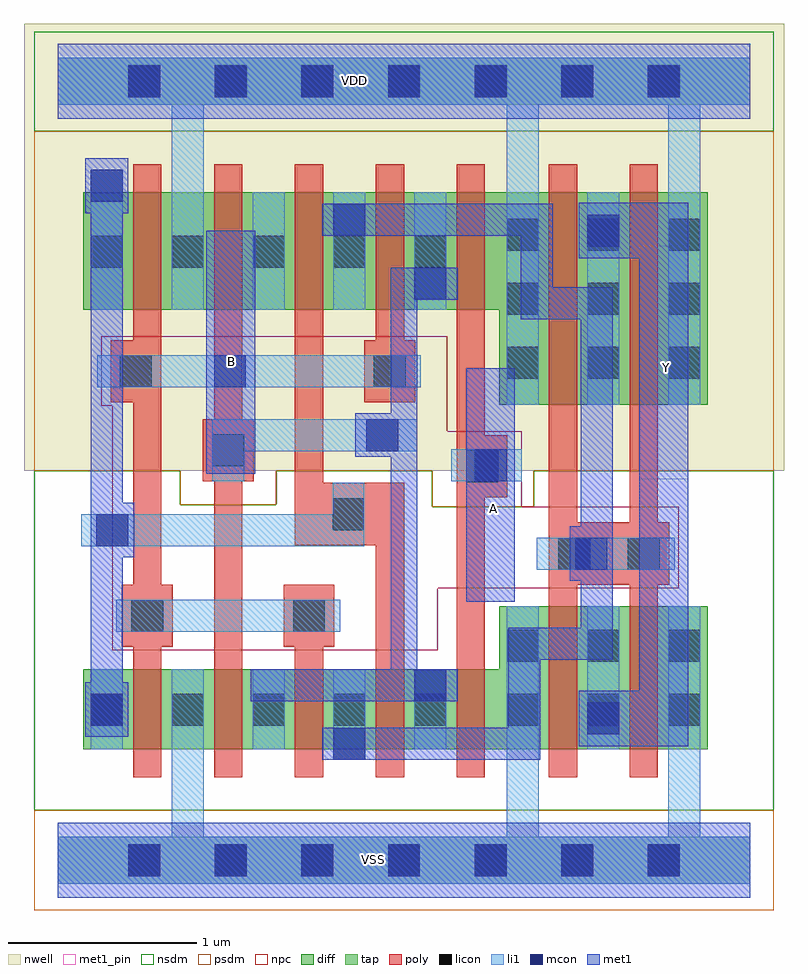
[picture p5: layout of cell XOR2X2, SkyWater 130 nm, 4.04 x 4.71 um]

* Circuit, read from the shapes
.subckt XOR2X2 A B VDD VSS Y
XM1 VSS B n1 VSS sky130_fd_pr__nfet_01v8 w=0.425 l=0.15
XM2 n2 n3 VSS VSS sky130_fd_pr__nfet_01v8 w=0.425 l=0.15
XM3 n4 B n2 VSS sky130_fd_pr__nfet_01v8 w=0.425 l=0.15
XM4 n3 n1 n4 VSS sky130_fd_pr__nfet_01v8 w=0.425 l=0.15
XM5 VSS A n3 VSS sky130_fd_pr__nfet_01v8 w=0.425 l=0.15
XM6 Y n4 VSS VSS sky130_fd_pr__nfet_01v8 w=0.76 l=0.15 m=2
XM7 VDD B n1 VDD sky130_fd_pr__pfet_01v8 w=0.625 l=0.15
XM8 n5 n3 VDD VDD sky130_fd_pr__pfet_01v8 w=0.625 l=0.15
XM9 n4 n1 n5 VDD sky130_fd_pr__pfet_01v8 w=0.625 l=0.15
XM10 n3 B n4 VDD sky130_fd_pr__pfet_01v8 w=0.625 l=0.15
XM11 VDD A n3 VDD sky130_fd_pr__pfet_01v8 w=0.625 l=0.15
XM12 Y n4 VDD VDD sky130_fd_pr__pfet_01v8 w=1.13 l=0.15 m=2
.ends

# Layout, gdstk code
from math import pi, radians
import gdstk
lib = gdstk.Library(unit=1e-6, precision=1e-09)
def R(c, l, rs):  # rectangles x0, y0, x1, y1
    for r in rs: c.add(gdstk.rectangle(r[:2], r[2:], *l))
def A(c, l, x, y, w, h, nx, ny, dx, dy):  # array of equal rectangles
    R(c, l, [(x+i*dx, y+j*dy, x+i*dx+w, y+j*dy+h) for i in range(nx) for j in range(ny)])
def P(c, l, *ps):  # polygons
    for p in ps: c.add(gdstk.Polygon(p, *l))
nwell = (64, 20)
diff = (65, 20)
tap = (65, 44)
poly = (66, 20)
licon = (66, 44)
li1 = (67, 20)
mcon = (67, 44)
met1_pin = (68, 16)
met1 = (68, 20)
nsdm = (93, 44)
psdm = (94, 20)
npc = (95, 20)

pfet_01v8_cdns_716492285 = lib.new_cell('pfet_01v8_CDNS_7164922852222')
R(pfet_01v8_cdns_716492285, nwell, [(-0.235,-0.18,0.555,0.805)])
R(pfet_01v8_cdns_716492285, diff, [(-0.055,0,0,0.625), (0,0,0.15,0.625), (0.15,0,0.375,0.625)])
R(pfet_01v8_cdns_716492285, poly, [(0,-0.15,0.15,-0.095), (0,-0.095,0.15,0), (0,0,0.15,0.625), (0,0.625,0.15,0.72), (0,0.72,0.15,0.775)])
R(pfet_01v8_cdns_716492285, licon, [(0.205,0.225,0.375,0.395)])
R(pfet_01v8_cdns_716492285, li1, [(0.205,0,0.375,0.625)])
R(pfet_01v8_cdns_716492285, psdm, [(-0.065,-0.13,0.385,0.755)])

c_pfet_01v8_cdns_716492285 = lib.new_cell('pfet_01v8_CDNS_7164922852223')
R(c_pfet_01v8_cdns_716492285, nwell, [(-0.445,-0.18,1.025,1.31)])
R(c_pfet_01v8_cdns_716492285, diff, [(-0.265,0,0,1.13), (0,0,0.15,1.13), (0.15,0,0.43,1.13), (0.43,0,0.58,1.13), (0.58,0,0.845,1.13)])
R(c_pfet_01v8_cdns_716492285, poly, [(0,-0.15,0.15,-0.095), (0.43,-0.15,0.58,-0.095), (0,-0.095,0.15,0), (0.43,-0.095,0.58,0), (0,0,0.15,1.13), (0.43,0,0.58,1.13), (0,1.13,0.15,1.225), (0.43,1.13,0.58,1.225), (0,1.225,0.15,1.28), (0.43,1.225,0.58,1.28)])
A(c_pfet_01v8_cdns_716492285, licon, -0.225, 0.14, 0.17, 0.17, 3, 3, 0.43, 0.34)
A(c_pfet_01v8_cdns_716492285, li1, -0.225, 0, 0.17, 1.13, 3, 1, 0.43, 0)
R(c_pfet_01v8_cdns_716492285, psdm, [(-0.405,-0.13,0.985,1.26)])

nfet_01v8_cdns_716492285 = lib.new_cell('nfet_01v8_CDNS_7164922852224')
R(nfet_01v8_cdns_716492285, diff, [(-0.225,0,0,0.425), (0,0,0.15,0.425), (0.15,0,0.205,0.425)])
R(nfet_01v8_cdns_716492285, poly, [(0,-0.15,0.15,-0.095), (0,-0.095,0.15,0), (0,0,0.15,0.425), (0,0.425,0.15,0.52), (0,0.52,0.15,0.575)])
R(nfet_01v8_cdns_716492285, licon, [(-0.225,0.125,-0.055,0.295)])
R(nfet_01v8_cdns_716492285, li1, [(-0.225,0,-0.055,0.425)])
R(nfet_01v8_cdns_716492285, nsdm, [(-0.235,-0.13,0.215,0.555)])

c_nfet_01v8_cdns_716492285 = lib.new_cell('nfet_01v8_CDNS_7164922852225')
R(c_nfet_01v8_cdns_716492285, diff, [(-0.075,0,0,0.425), (0,0,0.15,0.425), (0.15,0,0.205,0.425)])
R(c_nfet_01v8_cdns_716492285, poly, [(0,-0.15,0.15,-0.095), (0,-0.095,0.15,0), (0,0,0.15,0.425), (0,0.425,0.15,0.52), (0,0.52,0.15,0.575)])
R(c_nfet_01v8_cdns_716492285, nsdm, [(0.045,-0.13,0.215,0.555)])

c_pfet_01v8_cdns_716492285_ = lib.new_cell('pfet_01v8_CDNS_7164922852226')
R(c_pfet_01v8_cdns_716492285_, nwell, [(-0.235,-0.18,0.555,0.805)])
R(c_pfet_01v8_cdns_716492285_, diff, [(-0.055,0,0,0.625), (0,0,0.15,0.625), (0.15,0,0.375,0.625)])
R(c_pfet_01v8_cdns_716492285_, poly, [(0,-0.15,0.15,-0.095), (0,-0.095,0.15,0), (0,0,0.15,0.625), (0,0.625,0.15,0.72), (0,0.72,0.15,0.775)])
R(c_pfet_01v8_cdns_716492285_, licon, [(0.205,0.225,0.375,0.395)])
R(c_pfet_01v8_cdns_716492285_, li1, [(0.205,0,0.375,0.625)])
R(c_pfet_01v8_cdns_716492285_, psdm, [(-0.065,-0.13,0.385,0.755)])

c_pfet_01v8_cdns_716492285__ = lib.new_cell('pfet_01v8_CDNS_7164922852219')
R(c_pfet_01v8_cdns_716492285__, nwell, [(-0.405,-0.18,0.595,0.805)])
R(c_pfet_01v8_cdns_716492285__, diff, [(-0.225,0,0,0.625), (0,0,0.15,0.625), (0.15,0,0.415,0.625)])
R(c_pfet_01v8_cdns_716492285__, poly, [(0,-0.15,0.15,-0.095), (0,-0.095,0.15,0), (0,0,0.15,0.625), (0,0.625,0.15,0.72), (0,0.72,0.15,0.775)])
R(c_pfet_01v8_cdns_716492285__, licon, [(-0.225,0.225,-0.055,0.395), (0.205,0.225,0.375,0.395)])
R(c_pfet_01v8_cdns_716492285__, li1, [(-0.225,0,-0.055,0.625), (0.205,0,0.375,0.625)])
R(c_pfet_01v8_cdns_716492285__, psdm, [(-0.235,-0.13,0.555,0.755)])

c_pfet_01v8_cdns_716492285___ = lib.new_cell('pfet_01v8_CDNS_7164922852227')
R(c_pfet_01v8_cdns_716492285___, nwell, [(-0.235,-0.18,0.555,0.805)])
R(c_pfet_01v8_cdns_716492285___, diff, [(-0.055,0,0,0.625), (0,0,0.15,0.625), (0.15,0,0.375,0.625)])
R(c_pfet_01v8_cdns_716492285___, poly, [(0,-0.15,0.15,-0.095), (0,-0.095,0.15,0), (0,0,0.15,0.625), (0,0.625,0.15,0.72), (0,0.72,0.15,0.775)])
R(c_pfet_01v8_cdns_716492285___, psdm, [(-0.065,-0.13,0.385,0.755)])

c_nfet_01v8_cdns_716492285_ = lib.new_cell('nfet_01v8_CDNS_7164922852228')
R(c_nfet_01v8_cdns_716492285_, diff, [(-0.265,0,0,0.76), (0,0,0.15,0.76), (0.15,0,0.43,0.76), (0.43,0,0.58,0.76), (0.58,0,0.845,0.76)])
R(c_nfet_01v8_cdns_716492285_, poly, [(0,-0.15,0.15,-0.095), (0.43,-0.15,0.58,-0.095), (0,-0.095,0.15,0), (0.43,-0.095,0.58,0), (0,0,0.15,0.76), (0.43,0,0.58,0.76), (0,0.76,0.15,0.855), (0.43,0.76,0.58,0.855), (0,0.855,0.15,0.91), (0.43,0.855,0.58,0.91)])
A(c_nfet_01v8_cdns_716492285_, licon, -0.225, 0.125, 0.17, 0.17, 3, 2, 0.43, 0.34)
A(c_nfet_01v8_cdns_716492285_, li1, -0.225, 0, 0.17, 0.76, 3, 1, 0.43, 0)
R(c_nfet_01v8_cdns_716492285_, nsdm, [(-0.405,-0.13,0.985,0.89)])

c_nfet_01v8_cdns_716492285__ = lib.new_cell('nfet_01v8_CDNS_716492285226')
R(c_nfet_01v8_cdns_716492285__, diff, [(-0.225,0,0,0.425), (0,0,0.15,0.425), (0.15,0,0.415,0.425)])
R(c_nfet_01v8_cdns_716492285__, poly, [(0,-0.15,0.15,-0.095), (0,-0.095,0.15,0), (0,0,0.15,0.425), (0,0.425,0.15,0.52), (0,0.52,0.15,0.575)])
R(c_nfet_01v8_cdns_716492285__, licon, [(-0.225,0.125,-0.055,0.295), (0.205,0.125,0.375,0.295)])
R(c_nfet_01v8_cdns_716492285__, li1, [(-0.225,0,-0.055,0.425), (0.205,0,0.375,0.425)])
R(c_nfet_01v8_cdns_716492285__, nsdm, [(-0.235,-0.13,0.555,0.555)])

c_nfet_01v8_cdns_716492285___ = lib.new_cell('nfet_01v8_CDNS_7164922852229')
R(c_nfet_01v8_cdns_716492285___, diff, [(-0.055,0,0,0.425), (0,0,0.15,0.425), (0.15,0,0.375,0.425)])
R(c_nfet_01v8_cdns_716492285___, poly, [(0,-0.15,0.15,-0.095), (0,-0.095,0.15,0), (0,0,0.15,0.425), (0,0.425,0.15,0.52), (0,0.52,0.15,0.575)])
R(c_nfet_01v8_cdns_716492285___, nsdm, [(-0.065,-0.13,0.385,0.555)])

c_nfet_01v8_cdns_716492285____ = lib.new_cell('nfet_01v8_CDNS_7164922852230')
R(c_nfet_01v8_cdns_716492285____, diff, [(-0.055,0,0,0.425), (0,0,0.15,0.425), (0.15,0,0.375,0.425)])
R(c_nfet_01v8_cdns_716492285____, poly, [(0,-0.15,0.15,-0.095), (0,-0.095,0.15,0), (0,0,0.15,0.425), (0,0.425,0.15,0.52), (0,0.52,0.15,0.575)])
R(c_nfet_01v8_cdns_716492285____, licon, [(0.205,0.125,0.375,0.295)])
R(c_nfet_01v8_cdns_716492285____, li1, [(0.205,0,0.375,0.425)])
R(c_nfet_01v8_cdns_716492285____, nsdm, [(-0.065,-0.13,0.385,0.555)])

c_pfet_01v8_cdns_716492285____ = lib.new_cell('pfet_01v8_CDNS_7164922852231')
R(c_pfet_01v8_cdns_716492285____, nwell, [(-0.255,-0.18,0.385,0.805)])
R(c_pfet_01v8_cdns_716492285____, diff, [(-0.075,0,0,0.625), (0,0,0.15,0.625), (0.15,0,0.205,0.625)])
R(c_pfet_01v8_cdns_716492285____, poly, [(0,-0.15,0.15,-0.095), (0,-0.095,0.15,0), (0,0,0.15,0.625), (0,0.625,0.15,0.72), (0,0.72,0.15,0.775)])
R(c_pfet_01v8_cdns_716492285____, psdm, [(0.045,-0.13,0.215,0.755)])

l1m1_c_cdns_716492285221 = lib.new_cell('L1M1_C_CDNS_7164922852211')
R(l1m1_c_cdns_716492285221, li1, [(-0.085,-0.165,0.085,0.085)])
R(l1m1_c_cdns_716492285221, mcon, [(-0.085,-0.085,0.085,0.085)])
R(l1m1_c_cdns_716492285221, met1, [(-0.145,-0.115,0.145,0.115)])

pyl1con_c_cdns_716492285 = lib.new_cell('PYL1CON_C_CDNS_716492285220')
R(pyl1con_c_cdns_716492285, poly, [(-0.135,-0.165,0.135,0.165)])
R(pyl1con_c_cdns_716492285, licon, [(-0.085,-0.085,0.085,0.085)])
R(pyl1con_c_cdns_716492285, npc, [(-0.185,-0.185,0.185,0.185)])

l1m1_c_cdns_716492285223 = lib.new_cell('L1M1_C_CDNS_716492285223')
R(l1m1_c_cdns_716492285223, li1, [(-0.165,-0.085,0.165,0.085)])
R(l1m1_c_cdns_716492285223, mcon, [(-0.085,-0.085,0.085,0.085)])
R(l1m1_c_cdns_716492285223, met1, [(-0.115,-0.145,0.115,0.145)])

l1m1_c_cdns_716492285222 = lib.new_cell('L1M1_C_CDNS_716492285222')
R(l1m1_c_cdns_716492285222, li1, [(-0.085,-0.165,0.085,0.165)])
R(l1m1_c_cdns_716492285222, mcon, [(-0.085,-0.085,0.085,0.085)])
R(l1m1_c_cdns_716492285222, met1, [(-0.115,-0.145,0.115,0.145)])

c_l1m1_c_cdns_716492285221 = lib.new_cell('L1M1_C_CDNS_7164922852212')
R(c_l1m1_c_cdns_716492285221, li1, [(-0.085,-0.085,0.085,0.085)])
R(c_l1m1_c_cdns_716492285221, mcon, [(-0.085,-0.085,0.085,0.085)])
R(c_l1m1_c_cdns_716492285221, met1, [(-0.145,-0.085,0.145,0.085)])

licondiff_c_cdns_7164922 = lib.new_cell('LICONDIFF_C_CDNS_7164922852213')
R(licondiff_c_cdns_7164922, diff, [(-0.125,-0.145,0.125,0.145)])
R(licondiff_c_cdns_7164922, licon, [(-0.085,-0.085,0.085,0.085), (-0.085,-0.085,0.085,0.085)])

c_l1m1_c_cdns_716492285221_ = lib.new_cell('L1M1_C_CDNS_7164922852214')
R(c_l1m1_c_cdns_716492285221_, li1, [(-0.085,-0.165,0.085,0.085)])
R(c_l1m1_c_cdns_716492285221_, mcon, [(-0.085,-0.085,0.085,0.085)])
R(c_l1m1_c_cdns_716492285221_, met1, [(-0.115,-0.145,0.115,0.145)])

xor2x2 = lib.new_cell('XOR2X2')
R(xor2x2, nwell, [(-0.18,2.07,3.86,4.305), (-0.18,3.875,3.86,4.445)])
A(xor2x2, licon, 0.375, -0.085, 0.17, 0.17, 7, 2, 0.46, 4.14)
A(xor2x2, mcon, 0.375, -0.085, 0.17, 0.17, 7, 2, 0.46, 4.14)
R(xor2x2, met1_pin, [(2.17,1.375,2.43,2.615), (3.09,2.025,3.35,3.265), (0.79,2.055,1.05,3.345)])
R(xor2x2, met1, [(2.77,0.605,3.35,0.9), (2.77,3.2,3.35,3.495), (2.795,3.395,2.81,3.41)])
R(xor2x2, nsdm, [(-0.125,3.875,3.805,4.405), (-0.125,3.93,3.805,4.35)])
P(xor2x2, nsdm, [(3.805,2.07),(2.53,2.07),(2.53,1.88),(1.99,1.88),(1.99,2.07),(1.16,2.07),(1.16,1.89),(0.65,1.89),(0.65,2.07),(-0.125,2.07),(-0.125,0.265),(3.805,0.265)])
R(xor2x2, psdm, [(-0.125,-0.265,3.805,0.265), (-0.125,-0.21,3.805,0.21)])
P(xor2x2, psdm, [(3.805,3.875),(-0.125,3.875),(-0.125,2.07),(0.65,2.07),(0.65,1.89),(1.16,1.89),(1.16,2.07),(1.99,2.07),(1.99,1.88),(2.53,1.88),(2.53,2.07),(3.805,2.07)])
P(xor2x2, npc, [(3.3,1.88),(2.465,1.88),(2.465,2.28),(2.07,2.28),(2.07,2.785),(0.29,2.785),(0.29,1.115),(2.02,1.115),(2.02,1.445),(3.3,1.445)])
xor2x2.add(gdstk.FlexPath([(2.685,1.63),(3.115,1.63)], 0.33, ends="flush", simple_path=True, layer=66, datatype=20))  # poly
xor2x2.add(gdstk.FlexPath([(3.115,2.27),(3.115,1.44)], 0.15, ends="flush", simple_path=True, layer=66, datatype=20))  # poly
xor2x2.add(gdstk.FlexPath([(2.685,2.27),(2.685,1.44)], 0.15, ends="flush", simple_path=True, layer=66, datatype=20))  # poly
xor2x2.add(gdstk.FlexPath([(0.905,2.775),(0.905,1.165)], 0.15, ends="flush", simple_path=True, layer=66, datatype=20))  # poly
xor2x2.add(gdstk.FlexPath([(1.765,2.775),(1.765,2.6)], 0.15, ends="flush", simple_path=True, layer=66, datatype=20))  # poly
xor2x2.add(gdstk.FlexPath([(2.195,2.775),(2.195,1.135)], 0.15, ends="flush", simple_path=True, layer=66, datatype=20))  # poly
xor2x2.add(gdstk.FlexPath([(1.335,2.775),(1.335,2.6)], 0.15, ends="flush", simple_path=True, layer=66, datatype=20))  # poly
xor2x2.add(gdstk.FlexPath([(1.765,1.165),(1.765,1.34)], 0.15, ends="flush", simple_path=True, layer=66, datatype=20))  # poly
xor2x2.add(gdstk.FlexPath([(0.475,2.775),(0.475,1.165)], 0.15, ends="flush", simple_path=True, layer=66, datatype=20))  # poly
xor2x2.add(gdstk.FlexPath([(1.395,1.84),(1.69,1.84)], 0.33, ends="flush", simple_path=True, layer=66, datatype=20))  # poly
xor2x2.add(gdstk.FlexPath([(1.335,2.775),(1.335,1.815)], 0.15, ends=(0, 0.14), simple_path=True, layer=66, datatype=20))  # poly
xor2x2.add(gdstk.FlexPath([(1.765,1.865),(1.765,1.165)], 0.15, ends=(0.14, 0), simple_path=True, layer=66, datatype=20))  # poly
xor2x2.add(gdstk.FlexPath([(1.12,0.59),(1.12,1.015)], 0.17, ends="flush", simple_path=True, layer=67, datatype=20))  # li1
xor2x2.add(gdstk.FlexPath([(1.12,2.925),(1.12,3.55)], 0.17, ends="flush", simple_path=True, layer=67, datatype=20))  # li1
xor2x2.add(gdstk.FlexPath([(2.545,1.63),(3.28,1.63)], 0.17, ends="flush", simple_path=True, layer=67, datatype=20))  # li1
xor2x2.add(gdstk.FlexPath([(0.905,2.015),(0.905,2.26)], 0.17, ends=(0, 0.085), simple_path=True, layer=67, datatype=20))  # li1
xor2x2.add(gdstk.FlexPath([(0.82,2.26),(0.905,2.26)], 0.17, ends=(0, 0.085), simple_path=True, layer=67, datatype=20))  # li1
xor2x2.add(gdstk.FlexPath([(2.465,2.1),(2.09,2.1)], 0.17, ends="flush", simple_path=True, layer=67, datatype=20))  # li1
xor2x2.add(gdstk.FlexPath([(0.31,1.3),(1.5,1.3)], 0.17, ends="flush", simple_path=True, layer=67, datatype=20))  # li1
xor2x2.add(gdstk.FlexPath([(0.21,2.6),(1.93,2.6)], 0.17, ends="flush", simple_path=True, layer=67, datatype=20))  # li1
xor2x2.add(gdstk.FlexPath([(1.545,1.84),(1.545,2.005)], 0.17, ends="flush", simple_path=True, layer=67, datatype=20))  # li1
xor2x2.add(gdstk.FlexPath([(0.25,1.755),(1.63,1.755)], 0.17, ends="flush", simple_path=True, layer=67, datatype=20))  # li1
xor2x2.add(gdstk.FlexPath([(0.905,2.26),(1.91,2.26)], 0.17, ends=(0.085, 0), simple_path=True, layer=67, datatype=20))  # li1
xor2x2.add(gdstk.FlexPath([(2.47,0),(3.42,0)], 0.25, ends=(0.085, 0.085), simple_path=True, layer=67, datatype=20))  # li1
xor2x2.add(gdstk.FlexPath([(3.42,0),(3.595,0)], 0.25, ends=(0.085, 0.085), simple_path=True, layer=67, datatype=20))  # li1
xor2x2.add(gdstk.FlexPath([(0.69,0),(2.47,0)], 0.25, ends=(0.085, 0.085), simple_path=True, layer=67, datatype=20))  # li1
xor2x2.add(gdstk.FlexPath([(3.595,0),(3.68,0)], 0.25, ends=(0.085, 0), simple_path=True, layer=67, datatype=20))  # li1
xor2x2.add(gdstk.FlexPath([(2.47,4.14),(3.42,4.14)], 0.25, ends=(0.085, 0.085), simple_path=True, layer=67, datatype=20))  # li1
xor2x2.add(gdstk.FlexPath([(0,4.14),(0.69,4.14)], 0.25, ends=(0, 0.085), simple_path=True, layer=67, datatype=20))  # li1
xor2x2.add(gdstk.FlexPath([(3.42,4.14),(3.595,4.14)], 0.25, ends=(0.085, 0.085), simple_path=True, layer=67, datatype=20))  # li1
xor2x2.add(gdstk.FlexPath([(0.69,4.14),(2.47,4.14)], 0.25, ends=(0.085, 0.085), simple_path=True, layer=67, datatype=20))  # li1
xor2x2.add(gdstk.FlexPath([(0.69,0.59),(0.69,0)], 0.17, ends=(0, 0.085), simple_path=True, layer=67, datatype=20))  # li1
xor2x2.add(gdstk.FlexPath([(0,0),(0.69,0)], 0.25, ends=(0, 0.085), simple_path=True, layer=67, datatype=20))  # li1
xor2x2.add(gdstk.FlexPath([(2.47,3.55),(2.47,4.14)], 0.17, ends=(0, 0.125), simple_path=True, layer=67, datatype=20))  # li1
xor2x2.add(gdstk.FlexPath([(3.33,0),(3.33,0.59)], 0.17, ends=(0.085, 0), simple_path=True, layer=67, datatype=20))  # li1
xor2x2.add(gdstk.FlexPath([(0.69,3.55),(0.69,4.14)], 0.17, ends=(0, 0.085), simple_path=True, layer=67, datatype=20))  # li1
xor2x2.add(gdstk.FlexPath([(3.595,4.14),(3.68,4.14)], 0.25, ends=(0.085, 0), simple_path=True, layer=67, datatype=20))  # li1
xor2x2.add(gdstk.FlexPath([(0.69,0),(3.33,0)], 0.17, ends="extended", simple_path=True, layer=67, datatype=20))  # li1
xor2x2.add(gdstk.FlexPath([(2.47,0.59),(2.47,0)], 0.17, ends="flush", simple_path=True, layer=67, datatype=20))  # li1
xor2x2.add(gdstk.FlexPath([(3.33,4.14),(0.69,4.14)], 0.17, ends="extended", simple_path=True, layer=67, datatype=20))  # li1
xor2x2.add(gdstk.FlexPath([(3.33,3.55),(3.33,4.14)], 0.17, ends=(0, 0.085), simple_path=True, layer=67, datatype=20))  # li1
xor2x2.add(gdstk.FlexPath([(2.9,0.75),(2.9,0.755)], 0.26, ends=(0.13, 0.145), simple_path=True, layer=68, datatype=20))  # met1
xor2x2.add(gdstk.FlexPath([(3.22,0.75),(2.9,0.75)], 0.26, ends="extended", simple_path=True, layer=68, datatype=20))  # met1
xor2x2.add(gdstk.FlexPath([(3.22,2.035),(3.22,0.75)], 0.26, ends=(0, 0.13), simple_path=True, layer=68, datatype=20))  # met1
xor2x2.add(gdstk.FlexPath([(2.9,3.365),(2.9,3.345)], 0.26, ends=(0.13, 0.145), simple_path=True, layer=68, datatype=20))  # met1
xor2x2.add(gdstk.FlexPath([(3.22,3.365),(2.9,3.365)], 0.26, ends="extended", simple_path=True, layer=68, datatype=20))  # met1
xor2x2.add(gdstk.FlexPath([(3.22,3.265),(3.22,3.365)], 0.26, ends=(0, 0.13), simple_path=True, layer=68, datatype=20))  # met1
xor2x2.add(gdstk.FlexPath([(2.48,1.15),(2.48,0.62)], 0.17, ends="extended", simple_path=True, layer=68, datatype=20))  # met1
xor2x2.add(gdstk.FlexPath([(3.22,2.025),(3.22,3.265)], 0.26, ends="flush", simple_path=True, layer=68, datatype=20))  # met1
xor2x2.add(gdstk.FlexPath([(2.865,2.96),(2.865,1.15)], 0.17, ends="extended", simple_path=True, layer=68, datatype=20))  # met1
xor2x2.add(gdstk.FlexPath([(2.545,2.96),(2.865,2.96)], 0.17, ends="extended", simple_path=True, layer=68, datatype=20))  # met1
xor2x2.add(gdstk.FlexPath([(1.405,3.405),(2.44,3.405)], 0.17, ends=(0, 0.13), simple_path=True, layer=68, datatype=20))  # met1
xor2x2.add(gdstk.FlexPath([(2.435,0.62),(1.405,0.62)], 0.17, ends=(0.13, 0), simple_path=True, layer=68, datatype=20))  # met1
xor2x2.add(gdstk.FlexPath([(2.545,3.405),(2.545,2.96)], 0.17, ends="extended", simple_path=True, layer=68, datatype=20))  # met1
xor2x2.add(gdstk.FlexPath([(2.44,3.405),(2.545,3.405)], 0.17, ends=(0, 0.085), simple_path=True, layer=68, datatype=20))  # met1
xor2x2.add(gdstk.FlexPath([(2.125,3.065),(1.845,3.065)], 0.17, ends=(0, 0.07), simple_path=True, layer=68, datatype=20))  # met1
xor2x2.add(gdstk.FlexPath([(1.155,0.93),(1.98,0.93)], 0.17, ends=(0.13, 0), simple_path=True, layer=68, datatype=20))  # met1
xor2x2.add(gdstk.FlexPath([(1.84,3.065),(1.84,0.97)], 0.14, ends=(0.085, 0.085), simple_path=True, layer=68, datatype=20))  # met1
xor2x2.add(gdstk.FlexPath([(2.3,1.375),(2.3,2.615)], 0.26, ends="flush", simple_path=True, layer=68, datatype=20))  # met1
xor2x2.add(gdstk.FlexPath([(2.48,0.62),(2.435,0.62)], 0.17, ends=(0.085, 0), simple_path=True, layer=68, datatype=20))  # met1
xor2x2.add(gdstk.FlexPath([(0.92,2.055),(0.92,3.345)], 0.26, ends="flush", simple_path=True, layer=68, datatype=20))  # met1
xor2x2.add(gdstk.FlexPath([(0.26,0.655),(0.26,3.73)], 0.17, ends="flush", simple_path=True, layer=68, datatype=20))  # met1
xor2x2.add(gdstk.FlexPath([(2.865,1.15),(2.48,1.15)], 0.17, ends="extended", simple_path=True, layer=68, datatype=20))  # met1
xor2x2.add(gdstk.FlexPath([(0,0),(3.68,0)], 0.4, ends="flush", simple_path=True, layer=68, datatype=20))  # met1
xor2x2.add(gdstk.FlexPath([(0,4.14),(3.68,4.14)], 0.4, ends="flush", simple_path=True, layer=68, datatype=20))  # met1
xor2x2.add(gdstk.FlexPath([(0,4.14),(3.68,4.14)], 0.4, ends="flush", simple_path=True, layer=68, datatype=16))  # met1_pin
xor2x2.add(gdstk.FlexPath([(0,0),(3.68,0)], 0.4, ends="flush", simple_path=True, layer=68, datatype=16))  # met1_pin
xor2x2.add(gdstk.FlexPath([(0,4.14),(3.68,4.14)], 0.25, ends="flush", simple_path=True, layer=65, datatype=44))  # tap
xor2x2.add(gdstk.FlexPath([(0,0),(3.68,0)], 0.25, ends="flush", simple_path=True, layer=65, datatype=44))  # tap
xor2x2.add(gdstk.Reference(pfet_01v8_cdns_716492285, (1.69,2.925)))
xor2x2.add(gdstk.Reference(c_pfet_01v8_cdns_716492285, (2.61,2.42)))
xor2x2.add(gdstk.Reference(nfet_01v8_cdns_716492285, (1.84,0.59), rotation=pi, x_reflection=True))
xor2x2.add(gdstk.Reference(c_nfet_01v8_cdns_716492285, (2.27,0.59), rotation=pi, x_reflection=True))
xor2x2.add(gdstk.Reference(c_pfet_01v8_cdns_716492285_, (1.26,2.925)))
xor2x2.add(gdstk.Reference(c_pfet_01v8_cdns_716492285__, (0.55,2.925), rotation=pi, x_reflection=True))
xor2x2.add(gdstk.Reference(c_pfet_01v8_cdns_716492285___, (0.83,2.925)))
xor2x2.add(gdstk.Reference(c_nfet_01v8_cdns_716492285_, (2.61,0.59)))
xor2x2.add(gdstk.Reference(c_nfet_01v8_cdns_716492285__, (0.55,0.59), rotation=pi, x_reflection=True))
xor2x2.add(gdstk.Reference(c_nfet_01v8_cdns_716492285___, (0.83,0.59)))
xor2x2.add(gdstk.Reference(c_nfet_01v8_cdns_716492285____, (1.26,0.59)))
xor2x2.add(gdstk.Reference(c_pfet_01v8_cdns_716492285____, (2.27,2.925), rotation=pi, x_reflection=True))
xor2x2.add(gdstk.Reference(l1m1_c_cdns_716492285221, (2.835,1.63), rotation=pi/2))
xor2x2.add(gdstk.Reference(pyl1con_c_cdns_716492285, (3.115,1.63), rotation=pi))
xor2x2.add(gdstk.Reference(pyl1con_c_cdns_716492285, (2.745,1.63), rotation=pi))
xor2x2.add(gdstk.Reference(pyl1con_c_cdns_716492285, (0.905,2.18), rotation=pi))
xor2x2.add(gdstk.Reference(pyl1con_c_cdns_716492285, (2.255,2.095), rotation=pi))
xor2x2.add(gdstk.Reference(pyl1con_c_cdns_716492285, (1.335,1.3), rotation=pi))
xor2x2.add(gdstk.Reference(pyl1con_c_cdns_716492285, (0.475,1.3), rotation=pi))
xor2x2.add(gdstk.Reference(pyl1con_c_cdns_716492285, (1.765,2.6), rotation=pi))
xor2x2.add(gdstk.Reference(pyl1con_c_cdns_716492285, (0.415,2.6), rotation=pi))
xor2x2.add(gdstk.Reference(pyl1con_c_cdns_716492285, (1.545,1.84), x_reflection=True))
xor2x2.add(gdstk.Reference(l1m1_c_cdns_716492285223, (2.3,2.1), x_reflection=True))
xor2x2.add(gdstk.Reference(l1m1_c_cdns_716492285223, (0.915,2.6), x_reflection=True))
xor2x2.add(gdstk.Reference(l1m1_c_cdns_716492285223, (0.29,1.755), rotation=pi, x_reflection=True))
xor2x2.add(gdstk.Reference(l1m1_c_cdns_716492285222, (2.9,0.755)))
xor2x2.add(gdstk.Reference(l1m1_c_cdns_716492285222, (2.9,3.345)))
xor2x2.add(gdstk.Reference(l1m1_c_cdns_716492285222, (0.26,0.8)))
xor2x2.add(gdstk.Reference(c_l1m1_c_cdns_716492285221, (1.55,3.405), rotation=pi))
xor2x2.add(gdstk.Reference(c_l1m1_c_cdns_716492285221, (1.55,0.62), rotation=pi))
xor2x2.add(gdstk.Reference(c_l1m1_c_cdns_716492285221, (1.98,3.065), x_reflection=True))
xor2x2.add(gdstk.Reference(c_l1m1_c_cdns_716492285221, (1.98,0.93), x_reflection=True))
xor2x2.add(gdstk.Reference(licondiff_c_cdns_7164922, (1.12,0.8)))
xor2x2.add(gdstk.Reference(licondiff_c_cdns_7164922, (1.12,3.235)))
xor2x2.add(gdstk.Reference(c_l1m1_c_cdns_716492285221_, (0.26,3.585)))
xor2x2.add(gdstk.Reference(c_l1m1_c_cdns_716492285221_, (1.725,2.26), rotation=pi/2, x_reflection=True))
xor2x2.add(gdstk.Label('VDD', (1.575,4.145), layer=68, texttype=16))
xor2x2.add(gdstk.Label('Y', (3.235,2.62), layer=68, texttype=16))
xor2x2.add(gdstk.Label('B', (0.925,2.65), layer=68, texttype=16))
xor2x2.add(gdstk.Label('VSS', (1.68,0.005), layer=68, texttype=16))
xor2x2.add(gdstk.Label('A', (2.315,1.87), layer=68, texttype=16))

lib.write_gds('XOR2X2.gds')
